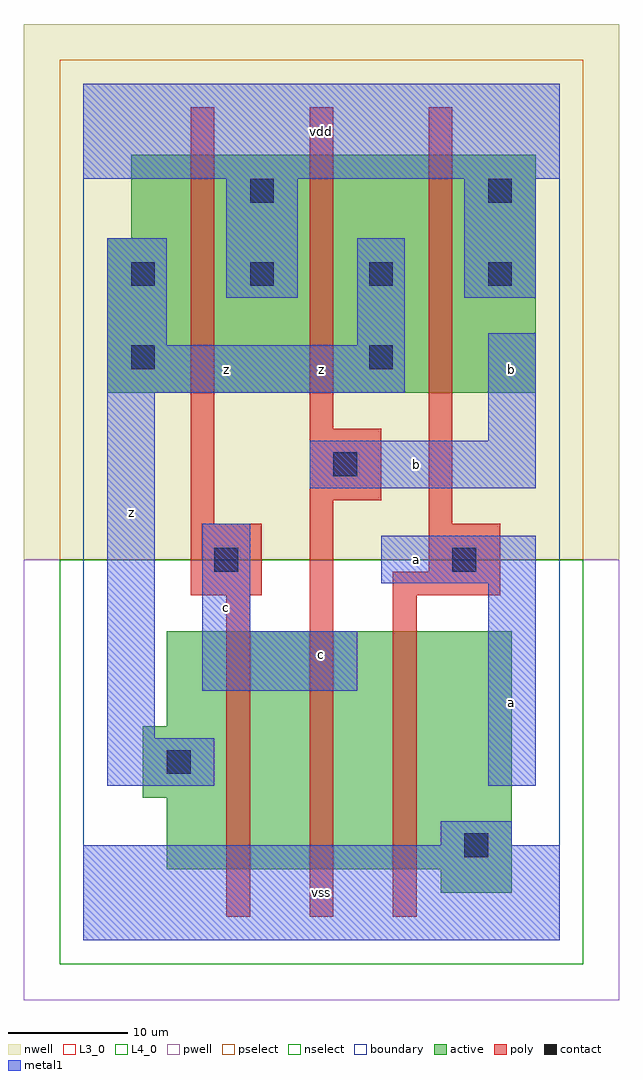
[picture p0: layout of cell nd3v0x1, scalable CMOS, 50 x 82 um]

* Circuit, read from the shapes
.subckt nd3v0x1 a b c vdd vss z
M1 n1 c z VSUBS nfet w=20u l=2u
M2 n2 b n1 VSUBS nfet w=20u l=2u
M3 vss a n2 VSUBS nfet w=20u l=2u
M4 vdd c z n3 pfet w=20u l=2u
M5 z b vdd n3 pfet w=20u l=2u
M6 vdd a z n3 pfet w=20u l=2u
.ends

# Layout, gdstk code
import gdstk
lib = gdstk.Library(unit=1e-6, precision=1e-09)
def R(c, l, rs):  # rectangles x0, y0, x1, y1
    for r in rs: c.add(gdstk.rectangle(r[:2], r[2:], *l))
def A(c, l, x, y, w, h, nx, ny, dx, dy):  # array of equal rectangles
    R(c, l, [(x+i*dx, y+j*dy, x+i*dx+w, y+j*dy+h) for i in range(nx) for j in range(ny)])
L3_0 = (3, 0)
L4_0 = (4, 0)
contact = (25, 0)
pwell = (41, 0)
nwell = (42, 0)
active = (43, 0)
pselect = (44, 0)
nselect = (45, 0)
poly = (46, 0)
metal1 = (49, 0)
boundary = (63, 0)

nd3v0x1 = lib.new_cell('nd3v0x1')
R(nd3v0x1, L3_0, [(30,4,36,6), (7,6,36,12), (5,12,36,18), (7,18,36,26)])
R(nd3v0x1, L4_0, [(2,46,38,59), (4,59,38,66)])
A(nd3v0x1, contact, 4, 55, 2, 2, 4, 1, 10, 0)
R(nd3v0x1, contact, [(32,7,34,9), (7,14,9,16), (11,31,13,33), (31,31,33,33), (21,39,23,41), (4,48,6,50), (24,48,26,50), (14,62,16,64), (34,62,36,64)])
R(nd3v0x1, pwell, [(-5,-5,45,32)])
R(nd3v0x1, nwell, [(-5,32,45,77)])
R(nd3v0x1, active, [(30,4,36,6), (7,6,36,12), (5,12,36,18), (7,18,36,26), (2,46,38,59), (4,59,38,66)])
R(nd3v0x1, pselect, [(-2,32,42,74)])
R(nd3v0x1, nselect, [(-2,-2,42,32)])
R(nd3v0x1, poly, [(12,2,14,29), (19,2,21,37), (26,2,28,29), (9,29,15,35), (26,29,35,31), (29,31,35,35), (9,35,11,70), (29,35,31,70), (19,37,25,43), (19,43,21,70)])
R(nd3v0x1, metal1, [(0,0,40,8), (30,8,36,10), (2,13,11,17), (34,13,38,30), (2,17,6,46), (10,21,23,26), (10,26,14,35), (25,30,38,34), (19,38,38,42), (34,42,38,51), (2,46,27,50), (2,50,7,59), (23,50,27,59), (12,54,18,64), (32,54,38,64), (0,64,40,72)])
R(nd3v0x1, boundary, [(0,0,40,72)])
nd3v0x1.add(gdstk.Label('z', (4,36), layer=49, texttype=0))
nd3v0x1.add(gdstk.Label('c', (12,28), layer=49, texttype=0))
nd3v0x1.add(gdstk.Label('z', (12,48), layer=49, texttype=0))
nd3v0x1.add(gdstk.Label('vss', (20,4), layer=49, texttype=0))
nd3v0x1.add(gdstk.Label('c', (20,24), layer=49, texttype=0))
nd3v0x1.add(gdstk.Label('a', (28,32), layer=49, texttype=0))
nd3v0x1.add(gdstk.Label('b', (28,40), layer=49, texttype=0))
nd3v0x1.add(gdstk.Label('z', (20,48), layer=49, texttype=0))
nd3v0x1.add(gdstk.Label('vdd', (20,68), layer=49, texttype=0))
nd3v0x1.add(gdstk.Label('a', (36,20), layer=49, texttype=0))
nd3v0x1.add(gdstk.Label('b', (36,48), layer=49, texttype=0))

lib.write_gds('nd3v0x1.gds')
